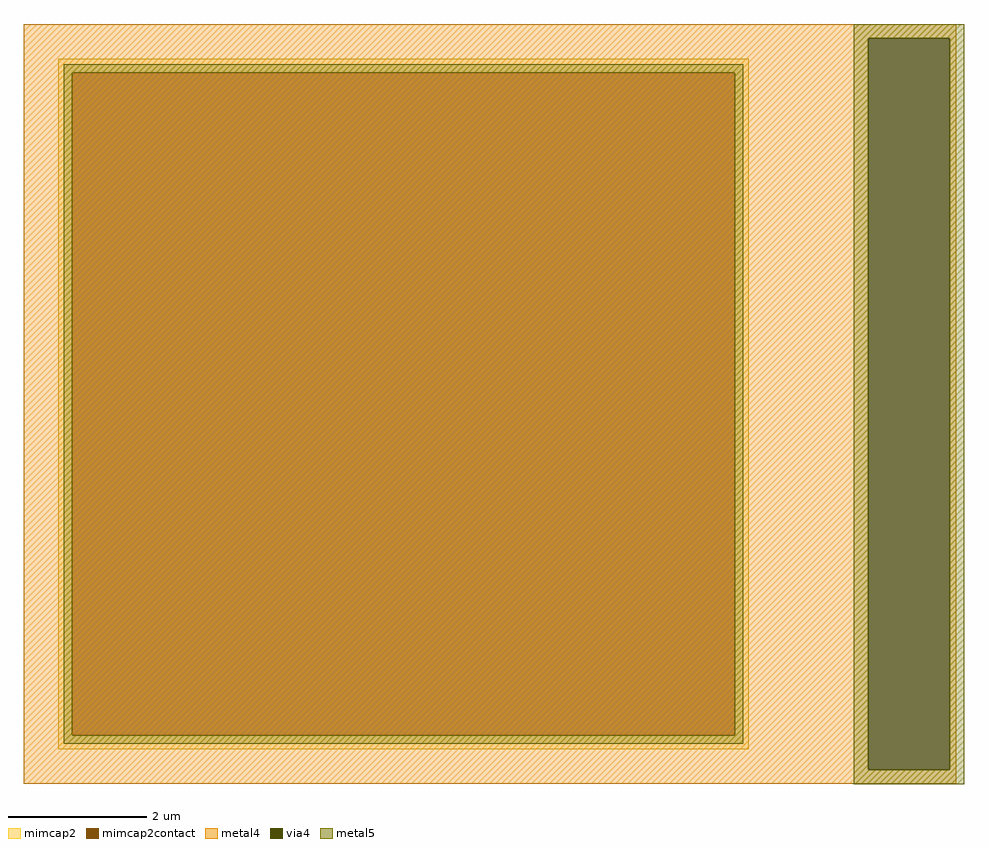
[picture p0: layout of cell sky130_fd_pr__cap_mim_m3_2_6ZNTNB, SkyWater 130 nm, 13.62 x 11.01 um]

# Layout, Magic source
magic
tech sky130B
magscale 1 2
<< metal4 >>
rect -1351 1059 1351 1100
rect -1351 -1059 1095 1059
rect 1331 -1059 1351 1059
rect -1351 -1100 1351 -1059
<< via4 >>
rect 1095 -1059 1331 1059
<< mimcap2 >>
rect -1251 960 749 1000
rect -1251 -960 -1211 960
rect 709 -960 749 960
rect -1251 -1000 749 -960
<< mimcap2contact >>
rect -1211 -960 709 960
<< metal5 >>
rect 1053 1059 1373 1101
rect -1235 960 733 984
rect -1235 -960 -1211 960
rect 709 -960 733 960
rect -1235 -984 733 -960
rect 1053 -1059 1095 1059
rect 1331 -1059 1373 1059
rect 1053 -1101 1373 -1059
<< properties >>
string FIXED_BBOX -1351 -1100 849 1100
string gencell sky130_fd_pr__cap_mim_m3_2
string library sky130
string parameters w 10 l 10 val 207.6 carea 2.00 cperi 0.19 nx 1 ny 1 dummy 0 square 0 lmin 2.00 wmin 2.00 lmax 30.0 wmax 30.0 dc 0 bconnect 1 tconnect 1 ccov 100
<< end >>
